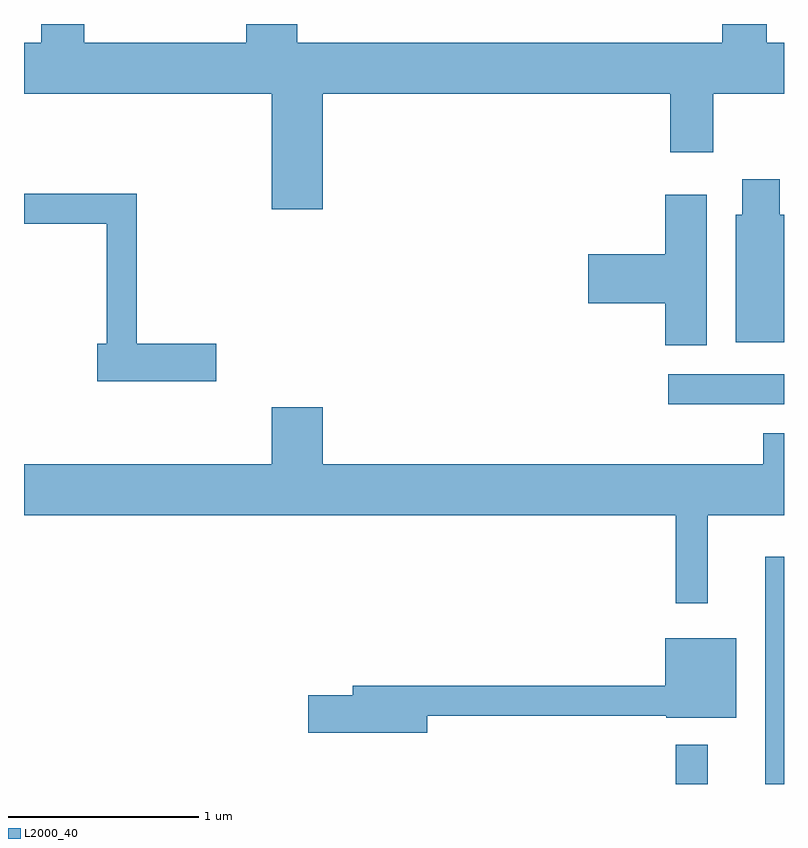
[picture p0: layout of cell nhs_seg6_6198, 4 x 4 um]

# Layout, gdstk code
import gdstk
lib = gdstk.Library(unit=1e-6, precision=1e-09)
def R(c, l, rs):  # rectangles x0, y0, x1, y1
    for r in rs: c.add(gdstk.rectangle(r[:2], r[2:], *l))
def P(c, l, *ps):  # polygons
    for p in ps: c.add(gdstk.Polygon(p, *l))
L2000_40 = (2000, 40)

nhs_seg6_6198 = lib.new_cell('nhs_seg6_6198')
R(nhs_seg6_6198, L2000_40, [(377.041,1564.162,377.209,1564.368), (377.511,1564.162,377.611,1565.358), (377.003,1566.161,377.611,1566.319)])
P(nhs_seg6_6198, L2000_40, [(375.184,1567.796),(377.011,1567.796),(377.011,1567.486),(377.239,1567.486),(377.239,1567.796),(377.611,1567.796),(377.611,1568.064),(377.519,1568.064),(377.519,1568.162),(377.286,1568.162),(377.286,1568.064),(375.049,1568.064),(375.049,1568.162),(374.781,1568.162),(374.781,1568.064),(373.929,1568.064),(373.929,1568.162),(373.701,1568.162),(373.701,1568.064),(373.611,1568.064),(373.611,1567.796),(374.916,1567.796),(374.916,1567.186),(375.184,1567.186)],
  [(377.611,1567.159),(377.589,1567.159),(377.589,1567.344),(377.391,1567.344),(377.391,1567.159),(377.356,1567.159),(377.356,1566.486),(377.611,1566.486)],
  [(374.624,1566.479),(374.204,1566.479),(374.204,1567.269),(373.611,1567.269),(373.611,1567.111),(374.046,1567.111),(374.046,1566.479),(373.996,1566.479),(373.996,1566.281),(374.624,1566.281)],
  [(377.204,1567.264),(376.986,1567.264),(376.986,1566.949),(376.581,1566.949),(376.581,1566.691),(376.986,1566.691),(376.986,1566.471),(377.204,1566.471)],
  [(377.209,1565.576),(377.611,1565.576),(377.611,1566.009),(377.501,1566.009),(377.501,1565.844),(375.184,1565.844),(375.184,1566.144),(374.916,1566.144),(374.916,1565.844),(373.611,1565.844),(373.611,1565.576),(377.041,1565.576),(377.041,1565.113),(377.209,1565.113)],
  [(375.734,1564.521),(376.99,1564.521),(376.99,1564.511),(377.359,1564.511),(377.359,1564.929),(376.986,1564.929),(376.986,1564.679),(375.341,1564.679),(375.341,1564.629),(375.106,1564.629),(375.106,1564.431),(375.734,1564.431)])

lib.write_gds('nhs_seg6_6198.gds')
